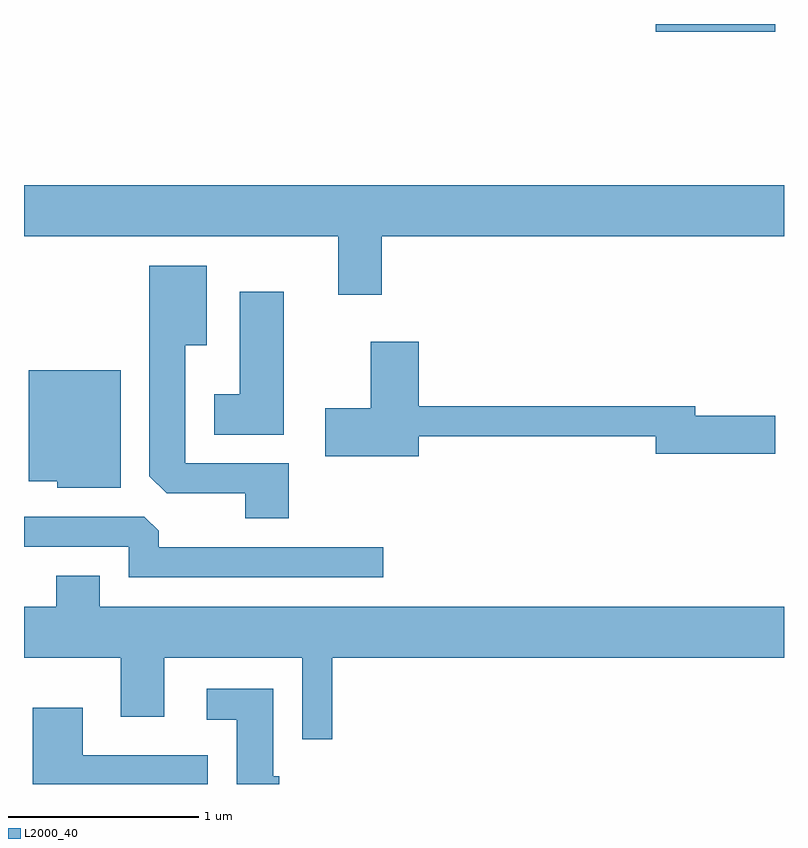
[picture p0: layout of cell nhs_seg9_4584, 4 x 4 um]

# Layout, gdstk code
import gdstk
lib = gdstk.Library(unit=1e-6, precision=1e-09)
def R(c, l, rs):  # rectangles x0, y0, x1, y1
    for r in rs: c.add(gdstk.rectangle(r[:2], r[2:], *l))
def P(c, l, *ps):  # polygons
    for p in ps: c.add(gdstk.Polygon(p, *l))
L2000_40 = (2000, 40)

nhs_seg9_4584 = lib.new_cell('nhs_seg9_4584')
R(nhs_seg9_4584, L2000_40, [(322.936,2048.391,323.564,2048.432)])
P(nhs_seg9_4584, L2000_40, [(321.494,2047.316),(323.611,2047.316),(323.611,2047.584),(319.611,2047.584),(319.611,2047.316),(321.266,2047.316),(321.266,2047.006),(321.494,2047.006)],
  [(321.004,2046.119),(320.459,2046.119),(320.459,2046.741),(320.574,2046.741),(320.574,2047.159),(320.271,2047.159),(320.271,2046.052),(320.362,2045.961),(320.776,2045.961),(320.776,2045.831),(321.004,2045.831)],
  [(320.979,2047.024),(320.746,2047.024),(320.746,2046.484),(320.611,2046.484),(320.611,2046.271),(320.979,2046.271)],
  [(321.689,2046.261),(322.936,2046.261),(322.936,2046.171),(323.564,2046.171),(323.564,2046.369),(323.144,2046.369),(323.144,2046.419),(321.689,2046.419),(321.689,2046.759),(321.436,2046.759),(321.436,2046.409),(321.196,2046.409),(321.196,2046.156),(321.689,2046.156)],
  [(320.119,2046.609),(319.636,2046.609),(319.636,2046.026),(319.786,2046.026),(319.786,2045.991),(320.119,2045.991)],
  [(321.503,2045.679),(320.319,2045.679),(320.319,2045.764),(320.244,2045.839),(319.611,2045.839),(319.611,2045.681),(320.161,2045.681),(320.161,2045.521),(321.503,2045.521)],
  [(321.234,2045.096),(323.611,2045.096),(323.611,2045.364),(320.009,2045.364),(320.009,2045.529),(319.781,2045.529),(319.781,2045.364),(319.611,2045.364),(319.611,2045.096),(320.121,2045.096),(320.121,2044.786),(320.349,2044.786),(320.349,2045.096),(321.076,2045.096),(321.076,2044.668),(321.234,2044.668)],
  [(320.954,2044.474),(320.924,2044.474),(320.924,2044.934),(320.573,2044.934),(320.573,2044.771),(320.731,2044.771),(320.731,2044.432),(320.954,2044.432)],
  [(320.579,2044.584),(319.919,2044.584),(319.919,2044.834),(319.656,2044.834),(319.656,2044.432),(320.579,2044.432)])

lib.write_gds('nhs_seg9_4584.gds')
